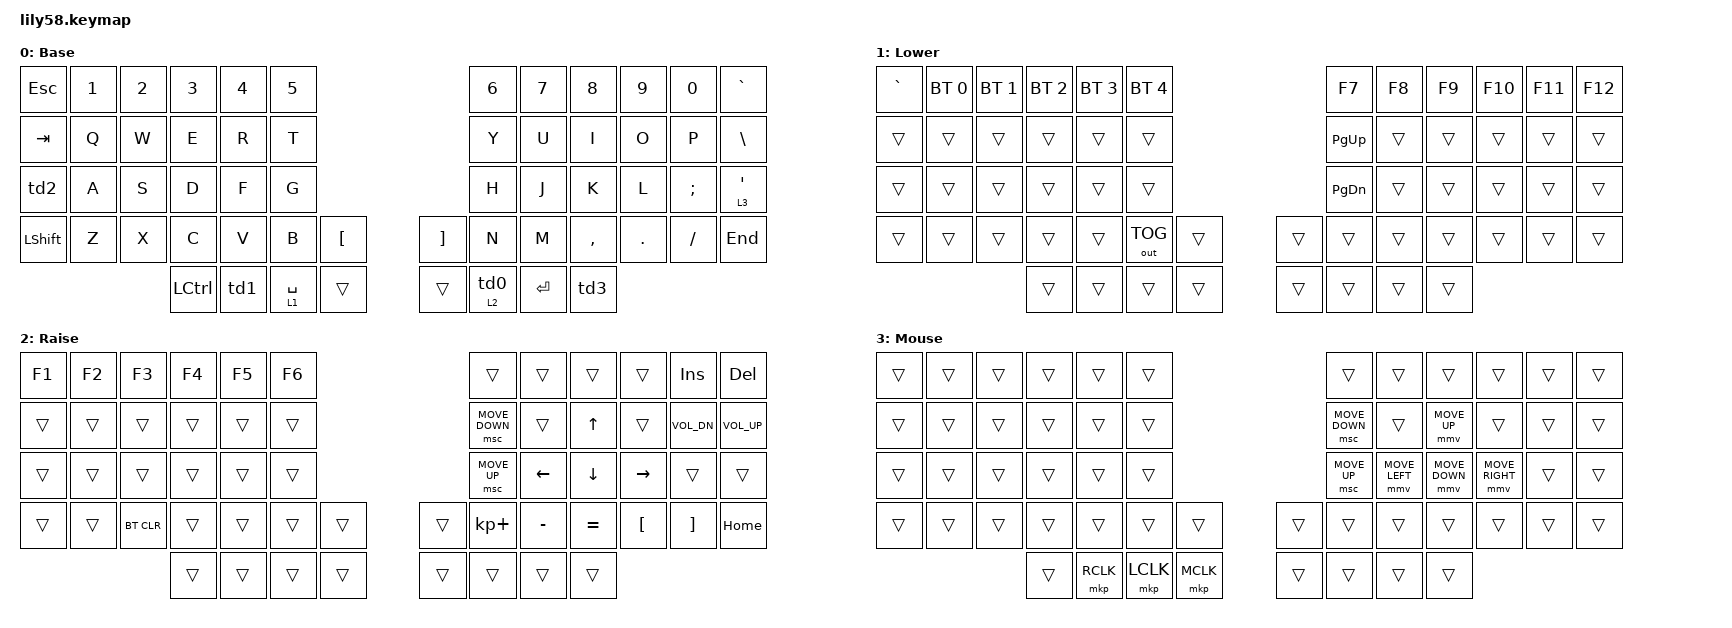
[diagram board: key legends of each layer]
/*
* Copyright (c) 2020 The ZMK Contributors
*
* SPDX-License-Identifier: MIT
*/

#include <behaviors.dtsi>
#include <dt-bindings/zmk/keys.h>
#include <dt-bindings/zmk/bt.h>
#include <dt-bindings/zmk/ext_power.h>
#include <dt-bindings/zmk/outputs.h>

#define ZMK_POINTING_DEFAULT_MOVE_VAL 300// default: 600
#define ZMK_POINTING_DEFAULT_SCRL_VAL 10// default: 10

#include <dt-bindings/zmk/pointing.h>

/ {
	behaviors {
		lt0: layer_tap_0 {
			compatible = "zmk,behavior-hold-tap";
			#binding-cells = <2>;
			flavor = "tap-preferred";
			tapping-term-ms = <150>;
			quick-tap-ms = <150>;
			require-prior-idle-ms = <75>;
			bindings = <&mo >, <&td0>;
			display-name = "Layer-Tap";
		};
		
		
		lt1: layer_tap_1 {
			compatible = "zmk,behavior-hold-tap";
			#binding-cells = <2>;
			flavor = "tap-preferred";
			tapping-term-ms = <150>;
			quick-tap-ms = <150>;
			require-prior-idle-ms = <100>;
			bindings = <&mo >, <&kp>;
			display-name = "Layer-Tap";
		};
		
		td0: tap_dance_0 {
			compatible = "zmk,behavior-tap-dance";
			#binding-cells = <0>;
			tapping-term-ms = <200>;
			bindings = <&kp BACKSPACE>, <&kp LC(BACKSPACE)>;
		};
		
		td1: lgui_alt {
			compatible = "zmk,behavior-tap-dance";
			#binding-cells = <0>;
			tapping-term-ms = <200>;
			bindings = <&kp LALT>, <&kp LGUI>;
		};
		
		
		
		td2: MO2_CAPSLOCK {
			compatible = "zmk,behavior-tap-dance";
			#binding-cells = <0>;
			tapping-term-ms = <200>;
			bindings = <&mo 2>, < &kp CAPS>;
		};
		
		td3: menu_win {
			compatible = "zmk,behavior-tap-dance";
			#binding-cells = <0>;
			tapping-term-ms = <200>;
			bindings = <&kp K_CONTEXT_MENU>, <&kp LGUI>;
		};
	};
	
	keymap {
		compatible = "zmk,keymap";
		
		default_layer {
			display-name = "Base";
			// ------------------------------------------------------------------------------------------------------------
			// |  ESC  |  1  |  2  |  3  |  4  |  5  |                    |  6  |  7  |  8  |  9  |  0  |   `   |
			// |  TAB  |  Q  |  W  |  E  |  R  |  T  |                    |  Y  |  U  |  I  |  O  |  P  |   \   |
			// |CPS/MO2|  A  |  S  |  D  |  F  |  G  |                    |  H  |  J  |  K  |  L  |  ;  |'/MOUSE|
			// | SHIFT |  Z  |  X  |  C  |  V  |  B  |  [  |   ]  |       |  N  |  M  |  ,  |  .  |  /  |  END  |
			//                 | CTRL |ALT/GUI|LT1(SPC)|  ___  |     |  ___  |LT2(BSP)| ENTER | MENU |
			bindings = <
			&kp ESC   &kp N1 &kp N2 &kp N3   &kp N4   &kp N5                     &kp N6 &kp N7   &kp N8    &kp N9  &kp N0   &kp GRAVE
			&kp TAB   &kp Q  &kp W  &kp E    &kp R    &kp T                      &kp Y  &kp U    &kp I     &kp O   &kp P    &kp BACKSLASH
			&td2      &kp A  &kp S  &kp D    &kp F    &kp G                      &kp H  &kp J    &kp K     &kp L   &kp SEMI &lt1 3 SQT
			&kp LSHFT &kp Z  &kp X  &kp C    &kp V    &kp B  &kp LBKT   &kp RBKT &kp N  &kp M    &kp COMMA &kp DOT &kp FSLH &kp END
			&kp LCTRL &td1 &lt1 1 SPACE   &trans  &trans &lt0 2 0     &kp ENTER &td3
			>;
			
			
		};
		
		lower_layer {
			display-name = "Lower";
			// ------------------------------------------------------------------------------------------------------------
			// |  F1   |  F2 |  F3 |  F4 |  F5 |  F6 |                    |  F7  |  F8  |  F9  | F10  | F11  | F12  |
			// |       |     |     |     |     |     |                    |      |      |      |      |      |      |
			// |       |     |     |     |     |     |                    |      |      |      |      |      |      |
			// |       |     |     |     |     |     |  ___  |  ___  |    |      |      |      |      |      |      |
			//                 |     |     |     |  ___  |       |  ___  |     |     |     |
			bindings = <
			&kp GRAVE  &bt BT_SEL 0 &bt BT_SEL 1 &bt BT_SEL 2 &bt BT_SEL 3 &bt BT_SEL 4                   &kp F7 &kp F8 &kp F9 &kp F10 &kp F11 &kp F12
			&trans &trans &trans &trans &trans &trans                    &kp PG_UP &trans &trans &trans  &trans  &trans
			&trans &trans &trans &trans &trans &trans                    &kp PG_DN &trans &trans &trans  &trans  &trans
			&trans &trans &trans &trans &trans &out OUT_TOG  &trans  &trans    &trans &trans &trans &trans  &trans  &trans
			&trans    &trans    &trans    &trans    &trans     &trans      &trans      &trans
			>;
			
			
		};
		
		raise_layer {
			display-name = "Raise";
			// ------------------------------------------------------------------------------------------------------------
			// | BTCLR | BT0 | BT1 | BT2 | BT3 | BT4 |                    |      |      |      |      | INS  | DEL  |
			// |       |     |     |     |     |     |                    |SCRL_DN|      |  UP  |      | VOL- | VOL+ |
			// |       |     |     |     |     |     |                    |SCRL_UP| LEFT | DOWN |RIGHT |      |      |
			// |       |     |     |     |     |     |  ___  |  ___  |    | KP+  |  -   |  =   |  [   |  ]   | HOME |
			//                 |     |     |     |  ___  |       |  ___  |     |     |     |
			bindings = <
			&kp F1 &kp F2 &kp F3 &kp F4 &kp F5 &kp F6     &trans &trans &trans &trans  &kp INS &kp DEL
			
			&trans    &trans    &trans    &trans    &trans    &trans                        &msc MOVE_DOWN   &trans      &kp UP      &trans      &kp C_VOL_DN   &kp C_VOL_UP
			&trans    &trans    &trans    &trans    &trans    &trans                        &msc MOVE_UP   &kp LEFT    &kp DOWN    &kp RIGHT    &trans          &trans
			&trans    &trans    &bt BT_CLR      &trans    &trans    &trans    &trans    &trans     &kp KP_PLUS &kp MINUS   &kp EQUAL   &kp LBKT &kp RBKT    &kp HOME
			&trans    &trans    &trans    &trans    &trans     &trans      &trans      &trans
			>;


		};

		mouse_layer {
			display-name = "Mouse";
			// Hold ' (right pinky) to activate. Movement and scrolling are on the same keys as the
			// raise layer's arrows (I/J/K/L) and scroll keys (Y/H), using the same &msc bindings as raise.
			// ------------------------------------------------------------------------------------------------------------
			// |       |     |     |     |     |     |                    |      |      |      |      |      |      |
			// |       |     |     |     |     |     |                    |SCROLL|      | M_UP |      |      |      |
			// |       |     |     |     |     |     |                    |SCROLL|M_LEFT| M_DN |M_RGHT|      | (held)|
			// |       |     |     |     |     |     |       |       |    |      |      |      |      |      |      |
			//                 |     | RCLK | LCLK | MCLK |     |       |      |      |      |
			bindings = <
			&trans &trans &trans &trans &trans &trans                        &trans          &trans         &trans         &trans          &trans &trans
			&trans &trans &trans &trans &trans &trans                        &msc MOVE_DOWN  &trans         &mmv MOVE_UP   &trans          &trans &trans
			&trans &trans &trans &trans &trans &trans                        &msc MOVE_UP    &mmv MOVE_LEFT &mmv MOVE_DOWN &mmv MOVE_RIGHT &trans &trans
			&trans &trans &trans &trans &trans &trans  &trans  &trans        &trans          &trans         &trans         &trans          &trans &trans
			&trans    &mkp RCLK    &mkp LCLK    &mkp MCLK    &trans     &trans      &trans      &trans
			>;
		};
	};
};
